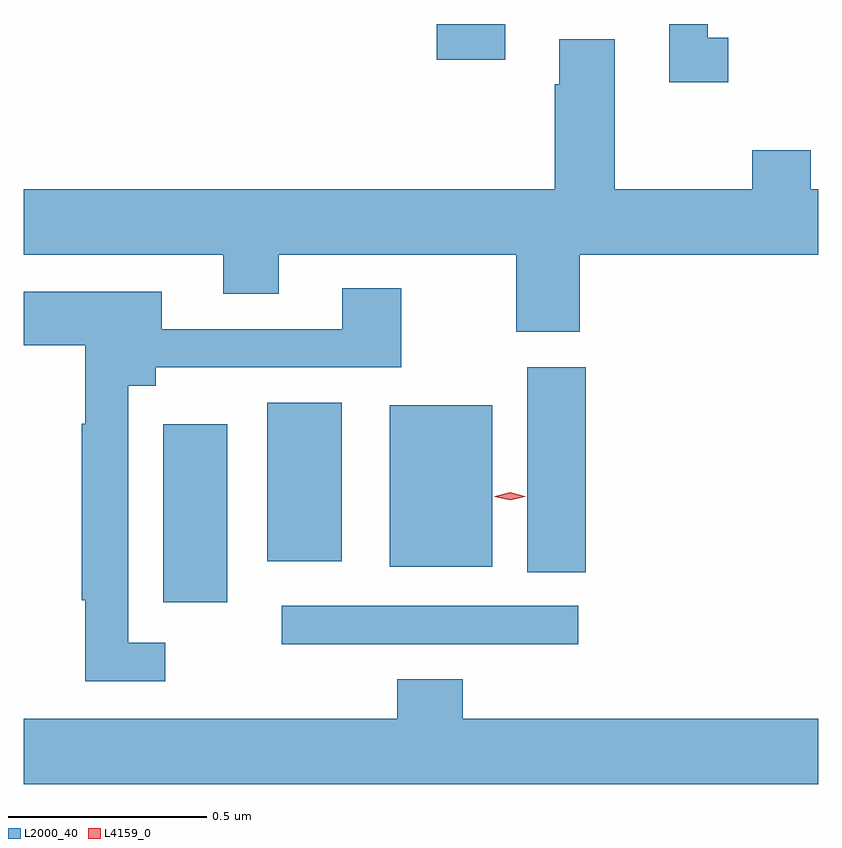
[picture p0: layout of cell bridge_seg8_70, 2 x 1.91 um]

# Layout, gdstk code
import gdstk
lib = gdstk.Library(unit=1e-6, precision=1e-09)
def R(c, l, rs):  # rectangles x0, y0, x1, y1
    for r in rs: c.add(gdstk.rectangle(r[:2], r[2:], *l))
def P(c, l, *ps):  # polygons
    for p in ps: c.add(gdstk.Polygon(p, *l))
L2000_40 = (2000, 40)
L4159_0 = (4159, 0)

bridge_seg8_70 = lib.new_cell('bridge_seg8_70')
R(bridge_seg8_70, L2000_40, [(921.309,1096.872,922.054,1096.968), (921.011,1096.977,921.172,1097.425), (921.926,1097.053,922.073,1097.569), (921.581,1097.066,921.838,1097.473), (921.272,1097.081,921.46,1097.479), (921.698,1098.342,921.871,1098.432)])
P(bridge_seg8_70, L2000_40, [(922.432,1098.398),(922.38,1098.398),(922.38,1098.432),(922.283,1098.432),(922.283,1098.285),(922.432,1098.285)],
  [(922.058,1097.852),(922.659,1097.852),(922.659,1098.016),(922.639,1098.016),(922.639,1098.115),(922.492,1098.115),(922.492,1098.016),(922.147,1098.016),(922.147,1098.394),(922.007,1098.394),(922.007,1098.281),(921.995,1098.281),(921.995,1098.016),(920.659,1098.016),(920.659,1097.852),(921.161,1097.852),(921.161,1097.753),(921.301,1097.753),(921.301,1097.852),(921.898,1097.852),(921.898,1097.658),(922.058,1097.658)],
  [(921.016,1096.875),(920.922,1096.875),(920.922,1097.522),(920.992,1097.522),(920.992,1097.568),(921.609,1097.568),(921.609,1097.767),(921.461,1097.767),(921.461,1097.664),(921.007,1097.664),(921.007,1097.758),(920.659,1097.758),(920.659,1097.624),(920.814,1097.624),(920.814,1097.426),(920.806,1097.426),(920.806,1096.982),(920.814,1096.982),(920.814,1096.779),(921.016,1096.779)],
  [(922.659,1096.684),(921.764,1096.684),(921.764,1096.783),(921.599,1096.783),(921.599,1096.684),(920.659,1096.684),(920.659,1096.52),(922.659,1096.52)])
P(bridge_seg8_70, L4159_0, [(921.883,1097.234),(921.845,1097.243),(921.845,1097.244),(921.845,1097.244),(921.883,1097.254),(921.92,1097.244),(921.921,1097.244),(921.92,1097.243)])

lib.write_gds('bridge_seg8_70.gds')
